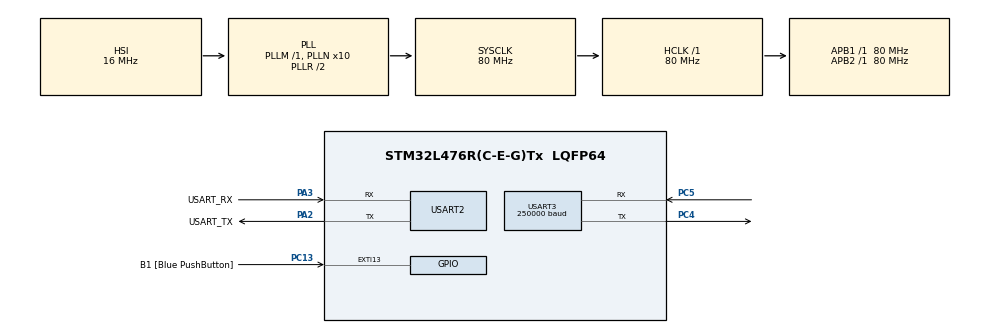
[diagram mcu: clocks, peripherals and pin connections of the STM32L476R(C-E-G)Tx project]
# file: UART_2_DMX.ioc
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Mcu.Family=STM32L4
Mcu.Name=STM32L476R(C-E-G)Tx
Mcu.Package=LQFP64
NVIC.PriorityGroup=NVIC_PRIORITYGROUP_4
PA13\ (JTMS-SWDIO).GPIO_Label=TMS
PA13\ (JTMS-SWDIO).Mode=Serial_Wire
PA13\ (JTMS-SWDIO).Signal=SYS_JTMS-SWDIO
PA14\ (JTCK-SWCLK).GPIO_Label=TCK
PA14\ (JTCK-SWCLK).Mode=Serial_Wire
PA14\ (JTCK-SWCLK).Signal=SYS_JTCK-SWCLK
PA2.GPIO_Label=USART_TX
PA2.GPIO_Mode=GPIO_MODE_AF_PP
PA2.GPIO_PuPd=GPIO_NOPULL
PA2.GPIO_Speed=GPIO_SPEED_FREQ_VERY_HIGH
PA2.Mode=Asynchronous
PA2.Signal=USART2_TX
PA3.GPIO_Label=USART_RX
PA3.GPIO_Mode=GPIO_MODE_AF_PP
PA3.GPIO_PuPd=GPIO_NOPULL
PA3.GPIO_Speed=GPIO_SPEED_FREQ_VERY_HIGH
PA3.Mode=Asynchronous
PA3.Signal=USART2_RX
PB3\ (JTDO-TRACESWO).GPIO_Label=SWO
PB3\ (JTDO-TRACESWO).Signal=SYS_JTDO-SWO
PC13.GPIO_Label=B1 [Blue PushButton]
PC13.GPIO_ModeDefaultEXTI=GPIO_MODE_IT_FALLING
PC13.GPIO_PuPd=GPIO_NOPULL
PC13.Signal=GPXTI13
PC14-OSC32_IN\ (PC14).Mode=LSE-External-Oscillator
PC14-OSC32_IN\ (PC14).Signal=RCC_OSC32_IN
PC15-OSC32_OUT\ (PC15).Mode=LSE-External-Oscillator
PC15-OSC32_OUT\ (PC15).Signal=RCC_OSC32_OUT
PC4.Mode=Asynchronous
PC4.Signal=USART3_TX
PC5.Mode=Asynchronous
PC5.Signal=USART3_RX
PH0-OSC_IN\ (PH0).Signal=RCC_OSC_IN
PH1-OSC_OUT\ (PH1).Signal=RCC_OSC_OUT
ProjectManager.HeapSize=0x200
ProjectManager.StackSize=0x400
ProjectManager.TargetToolchain=STM32CubeIDE
RCC.ADCFreq_Value=64000000
RCC.AHBFreq_Value=80000000
RCC.APB1Freq_Value=80000000
RCC.APB1TimFreq_Value=80000000
RCC.APB2Freq_Value=80000000
RCC.APB2TimFreq_Value=80000000
RCC.CortexFreq_Value=80000000
RCC.HCLKFreq_Value=80000000
RCC.HSE_VALUE=8000000
RCC.HSI_VALUE=16000000
RCC.MSI_VALUE=4000000
RCC.PLLN=10
RCC.PLLSourceVirtual=RCC_PLLSOURCE_HSI
RCC.PREFETCH_ENABLE=1
RCC.SYSCLKFreq_VALUE=80000000
RCC.SYSCLKSource=RCC_SYSCLKSOURCE_PLLCLK
RCC.USBFreq_Value=64000000
RCC.VCOOutputFreq_Value=160000000
USART2.VirtualMode-Asynchronous=VM_ASYNC
USART3.BaudRate=250000
USART3.Mode=MODE_TX
USART3.StopBits=STOPBITS_2
USART3.VirtualMode-Asynchronous=VM_ASYNC
USART3.WordLength=WORDLENGTH_8B
board=NUCLEO-L476RG

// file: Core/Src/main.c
/* USER CODE BEGIN Header */
/**
  ******************************************************************************
  * @file           : main.c
  * @brief          : Main program body
  ******************************************************************************
  * @attention
  *
  * Copyright (c) 2025 STMicroelectronics.
  * All rights reserved.
  *
  * This software is licensed under terms that can be found in the LICENSE file
  * in the root directory of this software component.
  * If no LICENSE file comes with this software, it is provided AS-IS.
  *
  ******************************************************************************
  */
/* USER CODE END Header */
#include "main.h"
#include "usart.h"
#include "gpio.h"

/* USER CODE BEGIN Includes */
#include <stdio.h>
#include "core_cm4.h"   // pour DWT->CYCCNT
#include <stdint.h>
/* USER CODE END Includes */

void SystemClock_Config(void);

/* USER CODE BEGIN 0 */
int __io_putchar(int ch) {
	HAL_UART_Transmit(&huart2, (uint8_t *)&ch, 1, HAL_MAX_DELAY);
	return ch;
}

// ----------- Déclaration du buffer DMX (start code + 512 canaux) -----------
uint8_t dmxData[513];

// ----------- Prototypes des fonctions auxiliaires DMX que l’on va définir -----------
static void DWT_Delay_Init(void);
static void DWT_Delay_us(uint32_t us);
static void DMX_SendBreak_MAB(void);
/* USER CODE END 0 */

int main(void)
{

  /* MCU Configuration--------------------------------------------------------*/

  /* Reset of all peripherals, Initializes the Flash interface and the Systick. */
  HAL_Init();

  /* Configure the system clock */
  SystemClock_Config();

  /* Initialize all configured peripherals */
  MX_GPIO_Init();
  MX_USART2_UART_Init();
  MX_USART3_UART_Init();
  /* USER CODE BEGIN 2 */
  DWT_Delay_Init();

  dmxData[0] = 0x00;
  for (uint16_t i = 1; i <= 512; i++) {
      // Ex. : on remplit chaque canal avec (i mod 256). Tu peux adapter.
      dmxData[i] = 255;
  }
  HAL_UART_Transmit(&huart3, dmxData, 513, HAL_MAX_DELAY);
  //uint8_t testByte = 0xAA; // b10101010 : on doit voir sur l’oscillo des alternances régulières
  /* USER CODE END 2 */

  /* Infinite loop */
  /* USER CODE BEGIN WHILE */
  while (1)
  {
      // === 1) Générer le Break (ligne TX = 0 pendant ≥88µs) et le MAB (TX = 1 ≥8µs) ===
      DMX_SendBreak_MAB();

      // === 2) Ré-initialiser UART5 (PC12 redevient AF8 TX) ===
      MX_USART3_UART_Init();

      // === 3) Envoyer la trame DMX (513 octets) ===
      //     - dmxData[0] = start code
      //     - dmxData[1..512] = valeurs des canaux
      HAL_UART_Transmit(&huart3, dmxData, 513, HAL_MAX_DELAY);

      DWT_Delay_us(50);

      // === 4) Attendre ~22 ms avant la prochaine trame (≈45 Hz) ===
      HAL_Delay(22);

	   //HAL_UART_Transmit(&huart3, &testByte, 1, HAL_MAX_DELAY);
	   //HAL_Delay(100); // envoyer 0xAA toutes les 100 ms
    /* USER CODE END WHILE */

  }
}

void SystemClock_Config(void)
{
  RCC_OscInitTypeDef RCC_OscInitStruct = {0};
  RCC_ClkInitTypeDef RCC_ClkInitStruct = {0};

  /** Configure the main internal regulator output voltage
  */
  if (HAL_PWREx_ControlVoltageScaling(PWR_REGULATOR_VOLTAGE_SCALE1) != HAL_OK)
  {
    Error_Handler();
  }

  /** Initializes the RCC Oscillators according to the specified parameters
  * in the RCC_OscInitTypeDef structure.
  */
  RCC_OscInitStruct.OscillatorType = RCC_OSCILLATORTYPE_HSI;
  RCC_OscInitStruct.HSIState = RCC_HSI_ON;
  RCC_OscInitStruct.HSICalibrationValue = RCC_HSICALIBRATION_DEFAULT;
  RCC_OscInitStruct.PLL.PLLState = RCC_PLL_ON;
  RCC_OscInitStruct.PLL.PLLSource = RCC_PLLSOURCE_HSI;
  RCC_OscInitStruct.PLL.PLLM = 1;
  RCC_OscInitStruct.PLL.PLLN = 10;
  RCC_OscInitStruct.PLL.PLLP = RCC_PLLP_DIV7;
  RCC_OscInitStruct.PLL.PLLQ = RCC_PLLQ_DIV2;
  RCC_OscInitStruct.PLL.PLLR = RCC_PLLR_DIV2;
  if (HAL_RCC_OscConfig(&RCC_OscInitStruct) != HAL_OK)
  {
    Error_Handler();
  }

  /** Initializes the CPU, AHB and APB buses clocks
  */
  RCC_ClkInitStruct.ClockType = RCC_CLOCKTYPE_HCLK|RCC_CLOCKTYPE_SYSCLK
                              |RCC_CLOCKTYPE_PCLK1|RCC_CLOCKTYPE_PCLK2;
  RCC_ClkInitStruct.SYSCLKSource = RCC_SYSCLKSOURCE_PLLCLK;
  RCC_ClkInitStruct.AHBCLKDivider = RCC_SYSCLK_DIV1;
  RCC_ClkInitStruct.APB1CLKDivider = RCC_HCLK_DIV1;
  RCC_ClkInitStruct.APB2CLKDivider = RCC_HCLK_DIV1;

  if (HAL_RCC_ClockConfig(&RCC_ClkInitStruct, FLASH_LATENCY_4) != HAL_OK)
  {
    Error_Handler();
  }
}

/* USER CODE BEGIN 4 */
// ─────────────── Fonctions auxiliaires DMX ───────────────

/**
  * @brief  Active le compteur DWT->CYCCNT pour faire des délais en µs.
  * @note   Appeler cette fonction une seule fois après HAL_Init() / SystemClock_Config().
  */
static void DWT_Delay_Init(void)
{
    CoreDebug->DEMCR |= CoreDebug_DEMCR_TRCENA_Msk; // autoriser DWT
    DWT->CTRL    |= DWT_CTRL_CYCCNTENA_Msk;         // activer le compteur de cycles
}

/**
  * @brief  Pause en microsecondes (bloquant) en utilisant DWT->CYCCNT.
  * @param  us : nombre de microsecondes à attendre
  * @note   SystemCoreClock doit être correct (fréquence CPU). Sur Nucleo L476RG,
  *         c’est typiquement 80 MHz ou 48 MHz selon ta config CubeMX.
  */
static void DWT_Delay_us(uint32_t us)
{
    uint32_t start = DWT->CYCCNT;
    // Calcul du nombre de cycles à attendre = (FCPU en Hz / 1e6) * us
    uint32_t cycles = (SystemCoreClock / 1000000UL) * us;
    while ((DWT->CYCCNT - start) < cycles) {
        // on boucle jusqu’à atteindre le nombre de cycles voulus
    }
}

/**
  * @brief  Génère un signal DMX 'Break' (≥88µs à 0) puis 'Mark After Break' (≥8µs à 1)
  *         sur la broche PC12 (USART5_TX). Pour cela, on :
  *         1) Désactive l’UART5 (HAL_UART_DeInit),
  *         2) Reconfigure PC12 en GPIO output push-pull,
  *            le met à 0 (Break) et attend >=88µs,
  *            puis le met à 1 (MAB) >=8µs,
  *         3) Re-désactive la config GPIO pour que, lorsqu’on rappellera MX_UART5_Init(),
  *            PC12 repasse en AF8 (USART5_TX).
  */
static void DMX_SendBreak_MAB(void)
{
    GPIO_InitTypeDef GPIO_InitStruct = {0};

    // 1) Activer l’horloge GPIOC (pour PC4)
    __HAL_RCC_GPIOC_CLK_ENABLE();

    // 2) Désactiver l’UART3 (pour libérer PC4 en mode GPIO)
    HAL_UART_DeInit(&huart3);

    // 3) Configurer PC4 en GPIO output push-pull
    GPIO_InitStruct.Pin   = GPIO_PIN_4;
    GPIO_InitStruct.Mode  = GPIO_MODE_OUTPUT_PP;
    GPIO_InitStruct.Pull  = GPIO_NOPULL;
    GPIO_InitStruct.Speed = GPIO_SPEED_FREQ_HIGH;
    HAL_GPIO_Init(GPIOC, &GPIO_InitStruct);

    // 4) Break : PC4 = LOW pendant ≥100 µs (on met 100 µs pour être sûr)
    HAL_GPIO_WritePin(GPIOC, GPIO_PIN_4, GPIO_PIN_RESET);
    DWT_Delay_us(100);

    // 5) Mark After Break : PC4 = HIGH pendant ≥12 µs (pour être >8 µs)
    HAL_GPIO_WritePin(GPIOC, GPIO_PIN_4, GPIO_PIN_SET);
    DWT_Delay_us(12);

    // 6) Déconfigurer PC4 en GPIO pour que, quand on ré-appellera
    //    MX_USART3_UART_Init(), CubeMX reconfigure PC4 en AF7 (USART3_TX)
    HAL_GPIO_DeInit(GPIOC, GPIO_PIN_4);
}

/* USER CODE END 4 */

void Error_Handler(void)
{
  __disable_irq();
  while (1)
  {
  }
}
